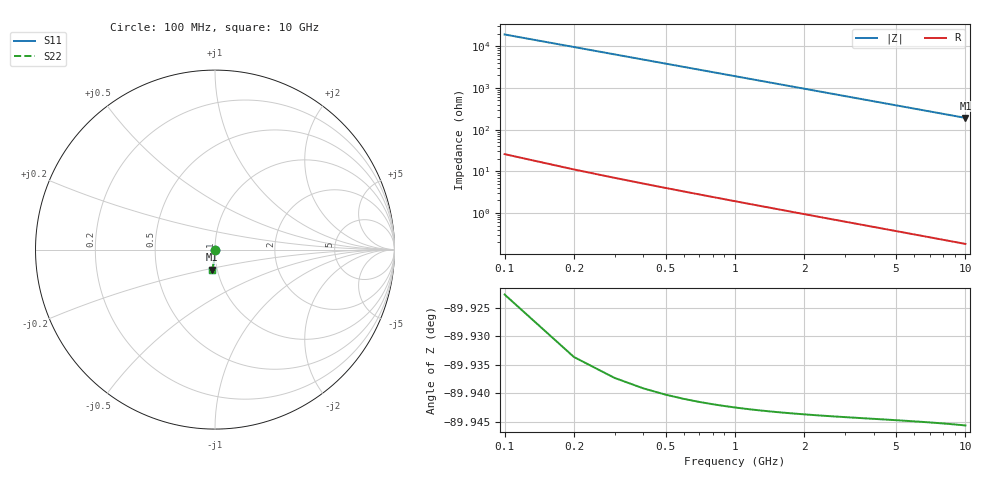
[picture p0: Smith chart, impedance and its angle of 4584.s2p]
# Hz S RI R 50.00
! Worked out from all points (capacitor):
!   100 points, 100 MHz to 10 GHz, reference 50 ohm
!   read as one part in shunt: C = 83.2 fF near 100 MHz
!   lowest |Z| = 191 ohm at 10 GHz (marker M1)
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1e8  0.000207 -0.00113  0.9998 -0.00148  0.9998 -0.00148  0.000207 -0.00113
2e8  0.000202 -0.00226  0.9998 -0.00297  0.9998 -0.00297  0.000202 -0.00226
3e8  0.000193 -0.0034  0.9998 -0.00445  0.9998 -0.00445  0.000193 -0.0034
4e8  0.000181 -0.00453  0.9998 -0.00593  0.9998 -0.00593  0.000181 -0.00453
5e8  0.000165 -0.00566  0.9997 -0.00742  0.9997 -0.00742  0.000165 -0.00566
6e8  0.000146 -0.00679  0.9997 -0.0089  0.9997 -0.0089  0.000146 -0.00679
7e8  0.000124 -0.00792  0.9997 -0.0104  0.9997 -0.0104  0.000124 -0.00792
8e8  9.81e-05 -0.00905  0.9997 -0.0119  0.9997 -0.0119  9.81e-05 -0.00905
9e8  6.88e-05 -0.0102  0.9996 -0.0133  0.9996 -0.0133  6.88e-05 -0.0102
1.1e9  1.08e-07 -0.0124  0.9996 -0.0163  0.9996 -0.0163  1.08e-07 -0.0124
1.4e9  -0.000128 -0.0158  0.9994 -0.0208  0.9994 -0.0208  -0.000128 -0.0158
1.8e9  -0.000347 -0.0204  0.9992 -0.0267  0.9992 -0.0267  -0.000347 -0.0204
2.1e9  -0.000546 -0.0237  0.999 -0.0311  0.999 -0.0311  -0.000546 -0.0237
2.5e9  -0.000858 -0.0283  0.9987 -0.0371  0.9987 -0.0371  -0.000858 -0.0283
2.9e9  -0.00122 -0.0328  0.9983 -0.043  0.9983 -0.043  -0.00122 -0.0328
3.4e9  -0.00176 -0.0384  0.9977 -0.0504  0.9977 -0.0504  -0.00176 -0.0384
4.2e9  -0.00278 -0.0474  0.9967 -0.0622  0.9967 -0.0622  -0.00278 -0.0474
5.1e9  -0.00419 -0.0575  0.9952 -0.0754  0.9952 -0.0754  -0.00419 -0.0575
5.9e9  -0.00566 -0.0664  0.9937 -0.0872  0.9937 -0.0872  -0.00566 -0.0664
6.7e9  -0.00735 -0.0753  0.9919 -0.0988  0.9919 -0.0988  -0.00735 -0.0753
8.4e9  -0.0116 -0.0939  0.9875 -0.1235  0.9875 -0.1235  -0.0116 -0.0939
1e10  -0.0165 -0.1112  0.9824 -0.1465  0.9824 -0.1465  -0.0165 -0.1112
